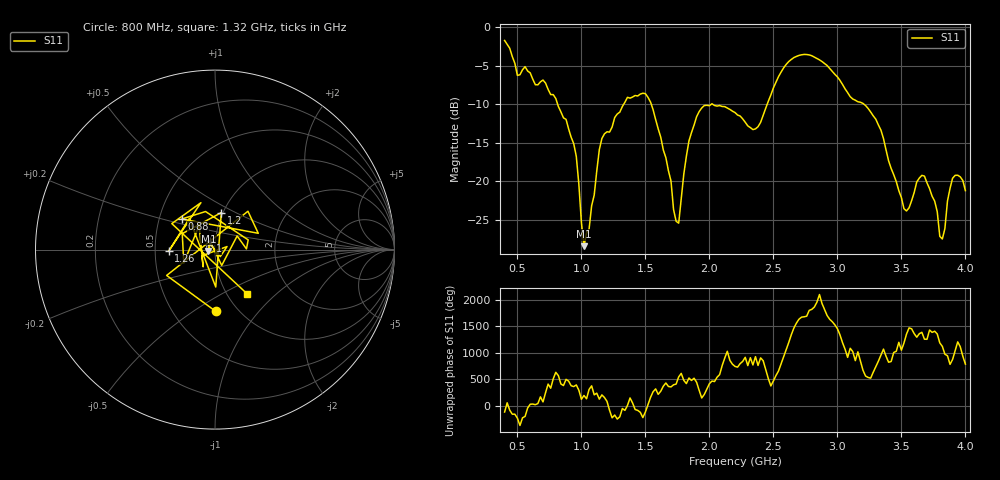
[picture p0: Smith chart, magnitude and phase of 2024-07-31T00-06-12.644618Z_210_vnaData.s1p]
!Created with skrf (http://scikit-rf.org).
# Hz S RI R 50.0
!freq ReS11 ImS11
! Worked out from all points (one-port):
!   181 points, 400 MHz to 4 GHz, reference 50 ohm
!   lowest |S11| = -28.5 dB at 1.02 GHz (marker M1), VSWR 1.08, Z = 46.4 - j0.768 ohm
!   |S11| at or under -10 dB: 814.2 MHz to 1.331 GHz (516.5 MHz wide, 48.2 % of centre); 1.546 GHz to 2.015 GHz (469.8 MHz wide, 26.4 % of centre); 3.207 GHz to end of sweep (the widest 3 of 4)
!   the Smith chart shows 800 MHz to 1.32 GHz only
!   S11 on the Smith chart (normalised r, x): 800 MHz: 0.79, -0.62; 880 MHz: 0.65, +0.24; 1 GHz: 0.94, +0.09; 1.2 GHz: 0.98, +0.42; 1.26 GHz: 0.59, -0.01; 1.32 GHz: 1.24, -0.67
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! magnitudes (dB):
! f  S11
! 400 MHz  -1.7
! 500 MHz  -6.3
! 800 MHz  -9.3
! 860 MHz  -11.8
! 880 MHz  -12.0
! 960 MHz  -16.8
! 1 GHz  -25.4
! 1.02 GHz  -28.5
! 1.14 GHz  -15.9
! 1.2 GHz  -13.6
! 1.26 GHz  -11.7
! 1.3 GHz  -11.0
! 1.32 GHz  -10.3
! 1.54 GHz  -9.7
! 1.76 GHz  -25.5
! 1.84 GHz  -14.8
! 1.92 GHz  -11.0
! 2.2 GHz  -11.1
! 2.38 GHz  -12.9
! 2.66 GHz  -3.9
! 2.88 GHz  -4.5
! 3.1 GHz  -9.0
! 3.3 GHz  -11.9
! 3.56 GHz  -23.5
! 3.68 GHz  -19.3
! 3.82 GHz  -27.5
! 3.9 GHz  -19.6
! 4 GHz  -21.2
